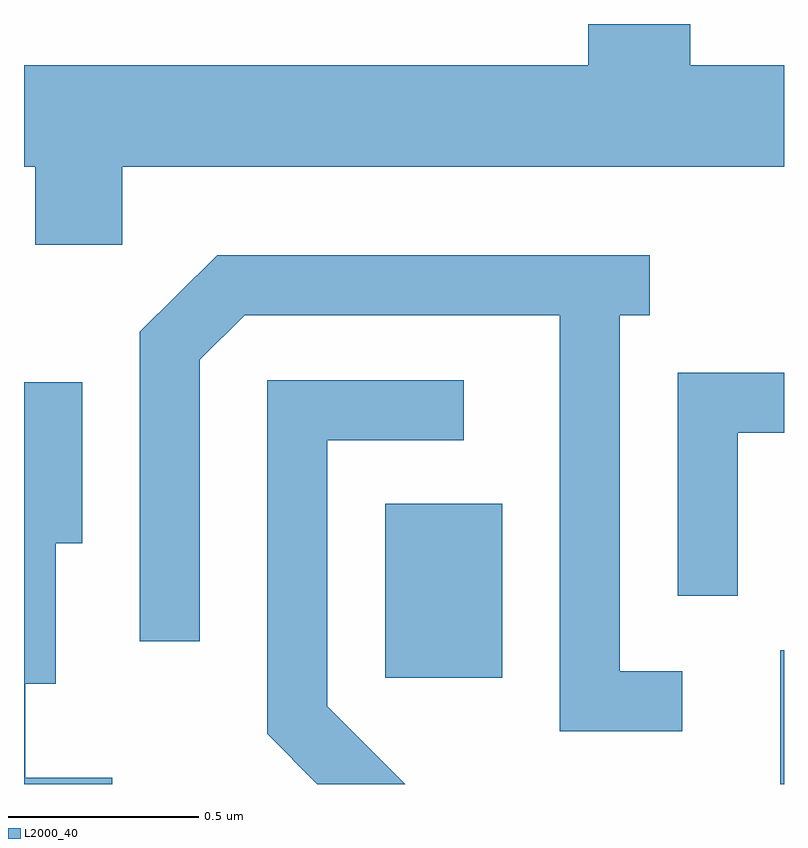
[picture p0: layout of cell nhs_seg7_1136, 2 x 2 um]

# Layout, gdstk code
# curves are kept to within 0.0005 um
import gdstk
lib = gdstk.Library(unit=1e-6, precision=1e-09)
def R(c, l, rs):  # rectangles x0, y0, x1, y1
    for r in rs: c.add(gdstk.rectangle(r[:2], r[2:], *l))
def P(c, l, *ps):  # polygons
    for p in ps: c.add(gdstk.Polygon(p, *l))
L2000_40 = (2000, 40)

nhs_seg7_1136 = lib.new_cell('nhs_seg7_1136')
R(nhs_seg7_1136, L2000_40, [(195.601,1708.252,195.611,1708.604), (194.561,1708.531,194.869,1708.989)])
P(nhs_seg7_1136, L2000_40, [(193.869,1709.876),(195.611,1709.876),(195.611,1710.144),(195.364,1710.144),(195.364,1710.252),(195.096,1710.252),(195.096,1710.144),(193.611,1710.144),(193.611,1709.876),(193.641,1709.876),(193.641,1709.671),(193.869,1709.671)],
  [(195.343,1708.549),(195.179,1708.549),(195.179,1709.486),(195.258,1709.486),(195.258,1709.644),(194.119,1709.644),(193.916,1709.442),(193.916,1708.628),(194.074,1708.628),(194.074,1709.369),(194.192,1709.486),(195.021,1709.486),(195.021,1708.391),(195.343,1708.391)],
  [(195.489,1709.176),(195.611,1709.176),(195.611,1709.334),(195.331,1709.334),(195.331,1708.748),(195.489,1708.748)],
  [(194.409,1708.457),(194.409,1709.156),(194.768,1709.156),(194.768,1709.314),(194.251,1709.314),(194.251,1708.384),(194.383,1708.252),(194.614,1708.252)],
  [(193.843,1708.269),(193.614,1708.269),(193.614,1708.516),(193.694,1708.516),(193.694,1708.886),(193.764,1708.886),(193.764,1709.309),(193.611,1709.309),(193.611,1708.252),(193.843,1708.252)])

lib.write_gds('nhs_seg7_1136.gds')
